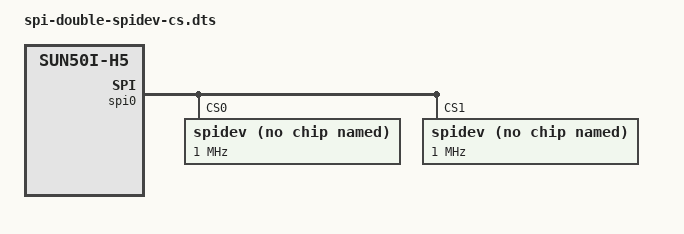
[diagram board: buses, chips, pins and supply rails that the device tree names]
/dts-v1/;
/plugin/;

/ {
	compatible = "allwinner,sun4i-a10", "allwinner,sun7i-a20", "allwinner,sun8i-h3", "allwinner,sun50i-a64", "allwinner,sun50i-h5";

	fragment@0 {
		target = <&spi0>;
		__overlay__ {
			#address-cells = <1>;
			#size-cells = <0>;
			status = "okay";

			spidev@0 {
				reg = <0>; /* Chip Select 0 */
				compatible = "spidev";
				spi-max-frequency = <1000000>;
				status = "okay";
			};

			spidev@1 {
				reg = <1>; /* Chip Select 1 */
				compatible = "spidev";
				spi-max-frequency = <1000000>;
				status = "okay";
			};
		};
	};
};
